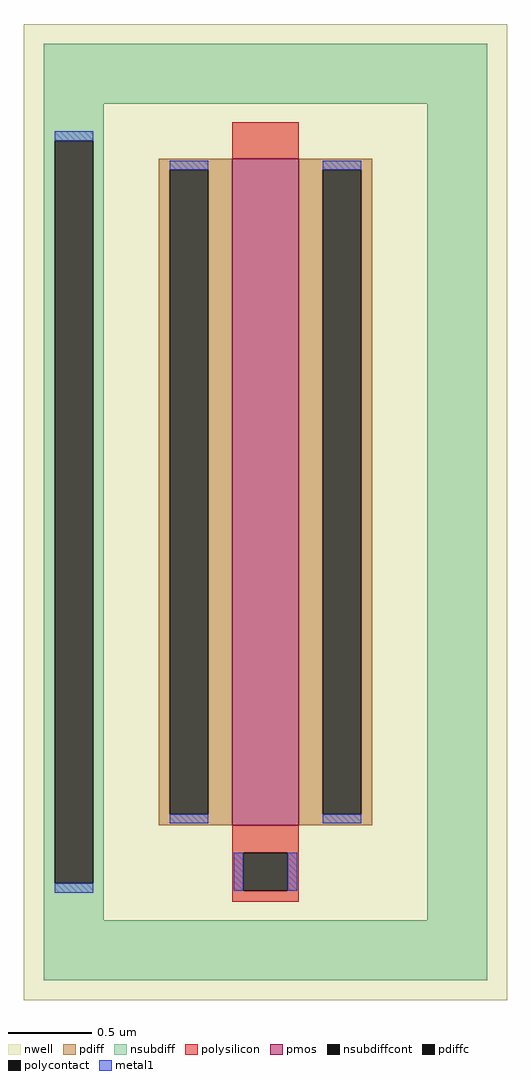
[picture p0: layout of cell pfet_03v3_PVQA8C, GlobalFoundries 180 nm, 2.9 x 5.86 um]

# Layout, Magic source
magic
tech gf180mcuD
magscale 1 10
<< nwell >>
rect -290 -586 290 586
<< pmos >>
rect -40 -376 40 424
<< pdiff >>
rect -128 411 -40 424
rect -128 -363 -115 411
rect -69 -363 -40 411
rect -128 -376 -40 -363
rect 40 411 128 424
rect 40 -363 69 411
rect 115 -363 128 411
rect 40 -376 128 -363
<< pdiffc >>
rect -115 -363 -69 411
rect 69 -363 115 411
<< nsubdiff >>
rect -266 490 266 562
rect -266 446 -194 490
rect -266 -446 -253 446
rect -207 -446 -194 446
rect -266 -490 -194 -446
rect 194 -490 266 490
rect -266 -562 266 -490
<< nsubdiffcont >>
rect -253 -446 -207 446
<< polysilicon >>
rect -40 424 40 468
rect -40 -409 40 -376
rect -40 -455 -27 -409
rect 27 -455 40 -409
rect -40 -468 40 -455
<< polycontact >>
rect -27 -455 27 -409
<< metal1 >>
rect -253 446 -207 457
rect -115 411 -69 422
rect -115 -374 -69 -363
rect 69 411 115 422
rect 69 -374 115 -363
rect -253 -457 -207 -446
rect -38 -455 -27 -409
rect 27 -455 38 -409
<< properties >>
string FIXED_BBOX -230 -526 230 526
string gencell pfet_03v3
string library gf180mcu
string parameters w 4.0 l 0.4 m 1 nf 1 diffcov 100 polycov 100 guard 1 glc 1 grc 0 gtc 0 gbc 0 tbcov 100 rlcov 100 topc 0 botc 1 poverlap 0 doverlap 1 lmin 0.28 wmin 0.22 class mosfet full_metal 0 compatible {pfet_03v3 pfet_06v0}
<< end >>
